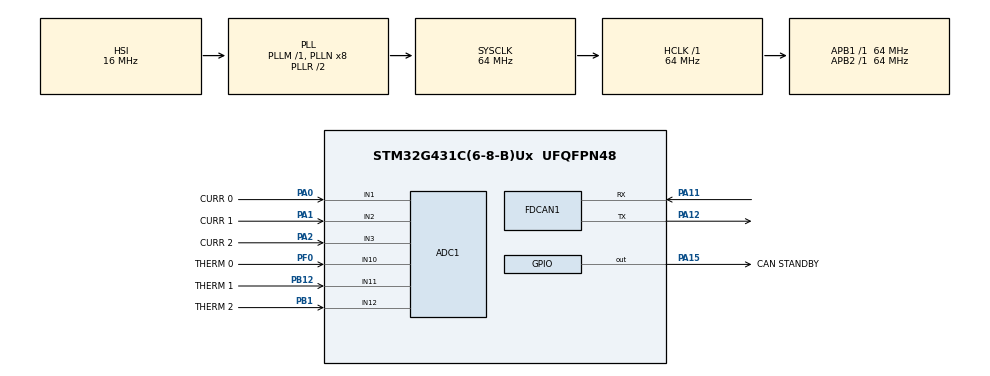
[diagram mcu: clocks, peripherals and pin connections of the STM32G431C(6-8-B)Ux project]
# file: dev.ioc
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ADC1.Channel-0\#ChannelRegularConversion=ADC_CHANNEL_1
ADC1.NbrOfConversionFlag=1
ADC1.OffsetNumber-0\#ChannelRegularConversion=ADC_OFFSET_NONE
ADC1.Rank-0\#ChannelRegularConversion=1
ADC1.SamplingTime-0\#ChannelRegularConversion=ADC_SAMPLETIME_2CYCLES_5
ADC1.master=1
FDCAN1.AutoRetransmission=ENABLE
FDCAN1.CalculateBaudRateNominal=500000
FDCAN1.CalculateTimeBitNominal=2000
FDCAN1.CalculateTimeQuantumNominal=31.25
FDCAN1.DataPrescaler=2
FDCAN1.DataSyncJumpWidth=14
FDCAN1.DataTimeSeg1=17
FDCAN1.DataTimeSeg2=14
FDCAN1.ExtFiltersNbr=0
FDCAN1.FrameFormat=FDCAN_FRAME_FD_NO_BRS
FDCAN1.Mode=FDCAN_MODE_NORMAL
FDCAN1.NominalPrescaler=2
FDCAN1.NominalSyncJumpWidth=10
FDCAN1.NominalTimeSeg1=47
FDCAN1.NominalTimeSeg2=16
FDCAN1.StdFiltersNbr=1
FDCAN1.TransmitPause=DISABLE
Mcu.Family=STM32G4
Mcu.Name=STM32G431C(6-8-B)Ux
Mcu.Package=UFQFPN48
NVIC.FDCAN1_IT0_IRQn=true\:1\:0\:true\:false\:true\:true\:true\:true
NVIC.FDCAN1_IT1_IRQn=true\:1\:0\:true\:false\:true\:true\:true\:true
NVIC.PriorityGroup=NVIC_PRIORITYGROUP_4
PA0.GPIO_Label=CURR 0
PA0.Mode=IN1-Single-Ended
PA0.Signal=ADC1_IN1
PA1.GPIO_Label=CURR 1
PA1.Mode=IN2-Single-Ended
PA1.Signal=ADC1_IN2
PA11.GPIO_Speed=GPIO_SPEED_FREQ_VERY_HIGH
PA11.Mode=FDCAN_Activate
PA11.Signal=FDCAN1_RX
PA12.GPIO_Speed=GPIO_SPEED_FREQ_VERY_HIGH
PA12.Mode=FDCAN_Activate
PA12.Signal=FDCAN1_TX
PA13.Mode=Serial_Wire
PA13.Signal=SYS_JTMS-SWDIO
PA14.Mode=Serial_Wire
PA14.Signal=SYS_JTCK-SWCLK
PA15.GPIO_Label=CAN STANDBY
PA15.Signal=GPIO_Output
PA2.GPIO_Label=CURR 2
PA2.Mode=IN3-Single-Ended
PA2.Signal=ADC1_IN3
PB1.GPIO_Label=THERM 2
PB1.Mode=IN12-Single-Ended
PB1.Signal=ADC1_IN12
PB12.GPIO_Label=THERM 1
PB12.Mode=IN11-Single-Ended
PB12.Signal=ADC1_IN11
PF0-OSC_IN.GPIO_Label=THERM 0
PF0-OSC_IN.Mode=IN10-Single-Ended
PF0-OSC_IN.Signal=ADC1_IN10
ProjectManager.HeapSize=0x200
ProjectManager.StackSize=0x400
ProjectManager.TargetToolchain=STM32CubeIDE
RCC.ADC12Freq_Value=64000000
RCC.AHBFreq_Value=64000000
RCC.APB1Freq_Value=64000000
RCC.APB1TimFreq_Value=64000000
RCC.APB2Freq_Value=64000000
RCC.APB2TimFreq_Value=64000000
RCC.CortexFreq_Value=64000000
RCC.EXTERNAL_CLOCK_VALUE=12288000
RCC.HCLKFreq_Value=64000000
RCC.HSE_VALUE=8000000
RCC.HSI48_VALUE=48000000
RCC.HSI_VALUE=16000000
RCC.LSE_VALUE=32768
RCC.SYSCLKFreq_VALUE=64000000
RCC.SYSCLKSource=RCC_SYSCLKSOURCE_PLLCLK
RCC.USBFreq_Value=64000000
RCC.VCOOutputFreq_Value=128000000
board=custom

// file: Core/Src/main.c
/* USER CODE BEGIN Header */
/**
  ******************************************************************************
  * @file           : main.c
  * @brief          : Main program body
  ******************************************************************************
  * @attention
  *
  * Copyright (c) 2023 STMicroelectronics.
  * All rights reserved.
  *
  * This software is licensed under terms that can be found in the LICENSE file
  * in the root directory of this software component.
  * If no LICENSE file comes with this software, it is provided AS-IS.
  *
  ******************************************************************************
  */
/* USER CODE END Header */
#include "main.h"

ADC_HandleTypeDef hadc1;

FDCAN_HandleTypeDef hfdcan1;

/* USER CODE BEGIN PV */
FDCAN_TxHeaderTypeDef TxHeader;
FDCAN_RxHeaderTypeDef RxHeader;
uint8_t TxData[] = { 0x01, 0x02, 0x03, 0x04, 0x05, 0x06, 0x07, 0x08, 0x09, 0x0A, 0x0B, 0x0C };
uint8_t RxData[12];

void HAL_FDCAN_RxFifo0Callback(FDCAN_HandleTypeDef *hfdcan, uint32_t RxFifo0ITs)
{
  if((RxFifo0ITs & FDCAN_IT_RX_FIFO0_NEW_MESSAGE) != RESET)
  {
    /* Retreive Rx messages from RX FIFO0 */
    if (HAL_FDCAN_GetRxMessage(hfdcan, FDCAN_RX_FIFO0, &RxHeader, RxData) != HAL_OK)
    {
    /* Reception Error */
    Error_Handler();
    }
    if (HAL_FDCAN_ActivateNotification(hfdcan, FDCAN_IT_RX_FIFO0_NEW_MESSAGE, 0) != HAL_OK)
    {
      /* Notification Error */
      Error_Handler();
    }
  }
}
/* USER CODE END PV */

void SystemClock_Config(void);
static void MX_GPIO_Init(void);
static void MX_ADC1_Init(void);
static void MX_FDCAN1_Init(void);

int main(void)
{

  /* MCU Configuration--------------------------------------------------------*/

  /* Reset of all peripherals, Initializes the Flash interface and the Systick. */
  HAL_Init();

  /* Configure the system clock */
  SystemClock_Config();

  /* Initialize all configured peripherals */
  MX_GPIO_Init();
  MX_ADC1_Init();
  MX_FDCAN1_Init();
  /* USER CODE BEGIN 2 */

  if (HAL_FDCAN_Start(&hfdcan1) != HAL_OK) {
  	  Error_Handler();
    }
    if (HAL_FDCAN_ActivateNotification(&hfdcan1, FDCAN_IT_RX_FIFO0_NEW_MESSAGE, 0) != HAL_OK) {
  	  /* Notification Error */
  	  Error_Handler();
    }

    TxHeader.Identifier = 0x11;
    TxHeader.IdType = FDCAN_STANDARD_ID;
    TxHeader.TxFrameType = FDCAN_DATA_FRAME;
    TxHeader.DataLength = FDCAN_DLC_BYTES_12;
    TxHeader.ErrorStateIndicator = FDCAN_ESI_ACTIVE;
    TxHeader.BitRateSwitch = FDCAN_BRS_OFF;
    TxHeader.FDFormat = FDCAN_FD_CAN;
    TxHeader.TxEventFifoControl = FDCAN_NO_TX_EVENTS;
    TxHeader.MessageMarker = 0;

  /* USER CODE END 2 */

  /* Infinite loop */
  while (1)
  {

    /* USER CODE BEGIN 3 */

	if (HAL_FDCAN_AddMessageToTxFifoQ(&hfdcan1, &TxHeader, TxData)!= HAL_OK)
	{
		Error_Handler();
	}
//
	HAL_Delay (1000);
//	  for (uint16_t i = 0; i < 2; ++i) {
//		  HAL_GPIO_WritePin(GPIOC, GPIO_PIN_13, i);
//		  HAL_Delay(20);
//		  HAL_GPIO_WritePin(GPIOC, GPIO_PIN_14, i);
//		  HAL_Delay(20);
//		  HAL_GPIO_WritePin(GPIOC, GPIO_PIN_15, i);
//		  HAL_Delay(20);
//		  HAL_GPIO_WritePin(GPIOF, GPIO_PIN_0, i);
//		  HAL_Delay(20);
//		  HAL_GPIO_WritePin(GPIOF, GPIO_PIN_1, i);
//		  HAL_Delay(20);
//		  HAL_GPIO_WritePin(GPIOA, GPIO_PIN_4, i);
//		  HAL_Delay(20);
//		  HAL_GPIO_WritePin(GPIOA, GPIO_PIN_5, i);
//		  HAL_Delay(20);
//		  HAL_GPIO_WritePin(GPIOA, GPIO_PIN_6, i);
//		  HAL_Delay(20);
//		  HAL_GPIO_WritePin(GPIOA, GPIO_PIN_7, i);
//		  HAL_Delay(20);
//		  HAL_GPIO_WritePin(GPIOC, GPIO_PIN_4, i);
//		  HAL_Delay(20);
//		  HAL_GPIO_WritePin(GPIOB, GPIO_PIN_2, i);
//		  HAL_Delay(20);
//		  HAL_GPIO_WritePin(GPIOB, GPIO_PIN_10, i);
//		  HAL_Delay(20);
//		  HAL_GPIO_WritePin(GPIOB, GPIO_PIN_13, i);
//		  HAL_Delay(20);
//		  HAL_GPIO_WritePin(GPIOB, GPIO_PIN_14, i);
//		  HAL_Delay(20);
//		  HAL_GPIO_WritePin(GPIOB, GPIO_PIN_15, i);
//		  HAL_Delay(20);
//		  HAL_GPIO_WritePin(GPIOC, GPIO_PIN_6, i);
//		  HAL_Delay(20);
//		  HAL_GPIO_WritePin(GPIOA, GPIO_PIN_10, i);
//		  HAL_Delay(20);
//		  HAL_GPIO_WritePin(GPIOC, GPIO_PIN_10, i);
//		  HAL_Delay(20);
//		  HAL_GPIO_WritePin(GPIOC, GPIO_PIN_11, i);
//		  HAL_Delay(20);
//		  HAL_GPIO_WritePin(GPIOB, GPIO_PIN_3, i);
//		  HAL_Delay(20);
//		  HAL_GPIO_WritePin(GPIOB, GPIO_PIN_4, i);
//		  HAL_Delay(20);
//		  HAL_GPIO_WritePin(GPIOB, GPIO_PIN_5, i);
//		  HAL_Delay(20);
//		  HAL_GPIO_WritePin(GPIOB, GPIO_PIN_6, i);
//		  HAL_Delay(20);
//		  HAL_GPIO_WritePin(GPIOB, GPIO_PIN_7, i);
//		  HAL_Delay(20);
//	  }
  }
  /* USER CODE END 3 */
}

void SystemClock_Config(void)
{
  RCC_OscInitTypeDef RCC_OscInitStruct = {0};
  RCC_ClkInitTypeDef RCC_ClkInitStruct = {0};

  /** Configure the main internal regulator output voltage
  */
  HAL_PWREx_ControlVoltageScaling(PWR_REGULATOR_VOLTAGE_SCALE1);

  /** Initializes the RCC Oscillators according to the specified parameters
  * in the RCC_OscInitTypeDef structure.
  */
  RCC_OscInitStruct.OscillatorType = RCC_OSCILLATORTYPE_HSI;
  RCC_OscInitStruct.HSIState = RCC_HSI_ON;
  RCC_OscInitStruct.HSICalibrationValue = RCC_HSICALIBRATION_DEFAULT;
  RCC_OscInitStruct.PLL.PLLState = RCC_PLL_ON;
  RCC_OscInitStruct.PLL.PLLSource = RCC_PLLSOURCE_HSI;
  RCC_OscInitStruct.PLL.PLLM = RCC_PLLM_DIV1;
  RCC_OscInitStruct.PLL.PLLN = 8;
  RCC_OscInitStruct.PLL.PLLP = RCC_PLLP_DIV2;
  RCC_OscInitStruct.PLL.PLLQ = RCC_PLLQ_DIV2;
  RCC_OscInitStruct.PLL.PLLR = RCC_PLLR_DIV2;
  if (HAL_RCC_OscConfig(&RCC_OscInitStruct) != HAL_OK)
  {
    Error_Handler();
  }

  /** Initializes the CPU, AHB and APB buses clocks
  */
  RCC_ClkInitStruct.ClockType = RCC_CLOCKTYPE_HCLK|RCC_CLOCKTYPE_SYSCLK
                              |RCC_CLOCKTYPE_PCLK1|RCC_CLOCKTYPE_PCLK2;
  RCC_ClkInitStruct.SYSCLKSource = RCC_SYSCLKSOURCE_PLLCLK;
  RCC_ClkInitStruct.AHBCLKDivider = RCC_SYSCLK_DIV1;
  RCC_ClkInitStruct.APB1CLKDivider = RCC_HCLK_DIV1;
  RCC_ClkInitStruct.APB2CLKDivider = RCC_HCLK_DIV1;

  if (HAL_RCC_ClockConfig(&RCC_ClkInitStruct, FLASH_LATENCY_2) != HAL_OK)
  {
    Error_Handler();
  }
}

static void MX_ADC1_Init(void)
{

  ADC_MultiModeTypeDef multimode = {0};
  ADC_ChannelConfTypeDef sConfig = {0};

  /** Common config
  */
  hadc1.Instance = ADC1;
  hadc1.Init.ClockPrescaler = ADC_CLOCK_SYNC_PCLK_DIV2;
  hadc1.Init.Resolution = ADC_RESOLUTION_12B;
  hadc1.Init.DataAlign = ADC_DATAALIGN_RIGHT;
  hadc1.Init.GainCompensation = 0;
  hadc1.Init.ScanConvMode = ADC_SCAN_DISABLE;
  hadc1.Init.EOCSelection = ADC_EOC_SINGLE_CONV;
  hadc1.Init.LowPowerAutoWait = DISABLE;
  hadc1.Init.ContinuousConvMode = DISABLE;
  hadc1.Init.NbrOfConversion = 1;
  hadc1.Init.DiscontinuousConvMode = DISABLE;
  hadc1.Init.ExternalTrigConv = ADC_SOFTWARE_START;
  hadc1.Init.ExternalTrigConvEdge = ADC_EXTERNALTRIGCONVEDGE_NONE;
  hadc1.Init.DMAContinuousRequests = DISABLE;
  hadc1.Init.Overrun = ADC_OVR_DATA_PRESERVED;
  hadc1.Init.OversamplingMode = DISABLE;
  if (HAL_ADC_Init(&hadc1) != HAL_OK)
  {
    Error_Handler();
  }

  /** Configure the ADC multi-mode
  */
  multimode.Mode = ADC_MODE_INDEPENDENT;
  if (HAL_ADCEx_MultiModeConfigChannel(&hadc1, &multimode) != HAL_OK)
  {
    Error_Handler();
  }

  /** Configure Regular Channel
  */
  sConfig.Channel = ADC_CHANNEL_1;
  sConfig.Rank = ADC_REGULAR_RANK_1;
  sConfig.SamplingTime = ADC_SAMPLETIME_2CYCLES_5;
  sConfig.SingleDiff = ADC_SINGLE_ENDED;
  sConfig.OffsetNumber = ADC_OFFSET_NONE;
  sConfig.Offset = 0;
  if (HAL_ADC_ConfigChannel(&hadc1, &sConfig) != HAL_OK)
  {
    Error_Handler();
  }

}

static void MX_FDCAN1_Init(void)
{

  hfdcan1.Instance = FDCAN1;
  hfdcan1.Init.ClockDivider = FDCAN_CLOCK_DIV1;
  hfdcan1.Init.FrameFormat = FDCAN_FRAME_FD_NO_BRS;
  hfdcan1.Init.Mode = FDCAN_MODE_NORMAL;
  hfdcan1.Init.AutoRetransmission = ENABLE;
  hfdcan1.Init.TransmitPause = DISABLE;
  hfdcan1.Init.ProtocolException = DISABLE;
  hfdcan1.Init.NominalPrescaler = 2;
  hfdcan1.Init.NominalSyncJumpWidth = 10;
  hfdcan1.Init.NominalTimeSeg1 = 47;
  hfdcan1.Init.NominalTimeSeg2 = 16;
  hfdcan1.Init.DataPrescaler = 2;
  hfdcan1.Init.DataSyncJumpWidth = 14;
  hfdcan1.Init.DataTimeSeg1 = 17;
  hfdcan1.Init.DataTimeSeg2 = 14;
  hfdcan1.Init.StdFiltersNbr = 1;
  hfdcan1.Init.ExtFiltersNbr = 0;
  hfdcan1.Init.TxFifoQueueMode = FDCAN_TX_FIFO_OPERATION;
  if (HAL_FDCAN_Init(&hfdcan1) != HAL_OK)
  {
    Error_Handler();
  }
  /* USER CODE BEGIN FDCAN1_Init 2 */

  FDCAN_FilterTypeDef sFilterConfig;

  sFilterConfig.IdType = FDCAN_STANDARD_ID;
  sFilterConfig.FilterIndex = 0;
  sFilterConfig.FilterType = FDCAN_FILTER_MASK;
  sFilterConfig.FilterConfig = FDCAN_FILTER_TO_RXFIFO0;
  sFilterConfig.FilterID1 = 0x11;
  sFilterConfig.FilterID2 = 0x11;
  if (HAL_FDCAN_ConfigFilter(&hfdcan1, &sFilterConfig) != HAL_OK) {
	  Error_Handler();
  }

  /* USER CODE END FDCAN1_Init 2 */

}

static void MX_GPIO_Init(void)
{
  GPIO_InitTypeDef GPIO_InitStruct = {0};

  /* GPIO Ports Clock Enable */
  __HAL_RCC_GPIOF_CLK_ENABLE();
  __HAL_RCC_GPIOA_CLK_ENABLE();
  __HAL_RCC_GPIOB_CLK_ENABLE();

  /*Configure GPIO pin Output Level */
  HAL_GPIO_WritePin(CAN_STANDBY_GPIO_Port, CAN_STANDBY_Pin, GPIO_PIN_RESET);

  /*Configure GPIO pin : CAN_STANDBY_Pin */
  GPIO_InitStruct.Pin = CAN_STANDBY_Pin;
  GPIO_InitStruct.Mode = GPIO_MODE_OUTPUT_PP;
  GPIO_InitStruct.Pull = GPIO_NOPULL;
  GPIO_InitStruct.Speed = GPIO_SPEED_FREQ_LOW;
  HAL_GPIO_Init(CAN_STANDBY_GPIO_Port, &GPIO_InitStruct);

}

void Error_Handler(void)
{
  __disable_irq();
  while (1)
  {
  }
}
